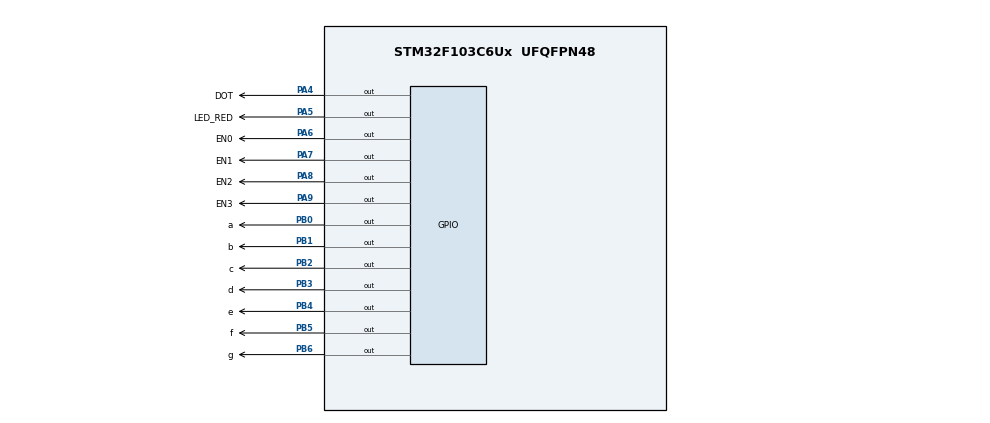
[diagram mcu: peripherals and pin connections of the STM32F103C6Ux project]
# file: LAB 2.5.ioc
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Mcu.Family=STM32F1
Mcu.Name=STM32F103C6Ux
Mcu.Package=UFQFPN48
NVIC.PriorityGroup=NVIC_PRIORITYGROUP_4
NVIC.TIM2_IRQn=true\:0\:0\:false\:false\:true\:true\:true
PA4.GPIO_Label=DOT
PA4.Signal=GPIO_Output
PA5.GPIO_Label=LED_RED
PA5.Signal=GPIO_Output
PA6.GPIO_Label=EN0
PA6.Signal=GPIO_Output
PA7.GPIO_Label=EN1
PA7.Signal=GPIO_Output
PA8.GPIO_Label=EN2
PA8.Signal=GPIO_Output
PA9.GPIO_Label=EN3
PA9.Signal=GPIO_Output
PB0.GPIO_Label=a
PB0.Signal=GPIO_Output
PB1.GPIO_Label=b
PB1.Signal=GPIO_Output
PB2.GPIO_Label=c
PB2.Signal=GPIO_Output
PB3.GPIO_Label=d
PB3.Signal=GPIO_Output
PB4.GPIO_Label=e
PB4.Signal=GPIO_Output
PB5.GPIO_Label=f
PB5.Signal=GPIO_Output
PB6.GPIO_Label=g
PB6.Signal=GPIO_Output
ProjectManager.HeapSize=0x200
ProjectManager.StackSize=0x400
ProjectManager.TargetToolchain=STM32CubeIDE
RCC.APB1Freq_Value=8000000
RCC.APB2Freq_Value=8000000
TIM2.Period=9
TIM2.Prescaler=7999
VP_SYS_VS_ND.Mode=No_Debug
VP_TIM2_VS_ClockSourceINT.Mode=Internal
board=custom

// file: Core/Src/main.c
/* USER CODE BEGIN Header */
/**
  ******************************************************************************
  * @file           : main.c
  * @brief          : Main program body
  ******************************************************************************
  * @attention
  *
  * <h2><center>&copy; Copyright (c) 2025 STMicroelectronics.
  * All rights reserved.</center></h2>
  *
  * This software component is licensed by ST under BSD 3-Clause license,
  * the "License"; You may not use this file except in compliance with the
  * License. You may obtain a copy of the License at:
  *                        opensource.org/licenses/BSD-3-Clause
  *
  ******************************************************************************
  */
/* USER CODE END Header */
#include "main.h"

TIM_HandleTypeDef htim2;

/* USER CODE BEGIN PV */
const int MAX_LED = 4;
int index_led = 0;
int led_buffer [4];
int hour = 15, minute = 8, second = 50;
/* USER CODE END PV */

void SystemClock_Config(void);
static void MX_GPIO_Init(void);
static void MX_TIM2_Init(void);
void display7SEG(int num);
void update7SEG(int index);
void updateClockBuffer();

int main(void)
{

  /* MCU Configuration--------------------------------------------------------*/

  /* Reset of all peripherals, Initializes the Flash interface and the Systick. */
  HAL_Init();

  /* Configure the system clock */
  SystemClock_Config();

  /* Initialize all configured peripherals */
  MX_GPIO_Init();
  MX_TIM2_Init();
  /* USER CODE BEGIN 2 */
  HAL_TIM_Base_Start_IT(&htim2);
  /* USER CODE END 2 */

  /* Infinite loop */
  /* USER CODE BEGIN WHILE */
  while (1)
  {
	  second++;
	  if(second>=60){
		  second = 0;
		  minute++;
	  }
	  if(minute>=60){
		  minute = 0;
		  hour++;
	  }
	  if(hour>=24){
		  hour = 0;
	  }
	  updateClockBuffer();
	  HAL_Delay(1000);
    /* USER CODE END WHILE */

  }
}
void updateClockBuffer(){
	led_buffer[0] = hour / 10;
	led_buffer[1] = hour % 10;
	led_buffer[2] = minute / 10;
	led_buffer[3] = minute%10;
}
void display7SEG(int num)
{
	if(num>=0 && num<=9){
	 if(num==0){
		   HAL_GPIO_WritePin(a_GPIO_Port, a_Pin, 0);
		   HAL_GPIO_WritePin(a_GPIO_Port, b_Pin, 0);
		   HAL_GPIO_WritePin(a_GPIO_Port, c_Pin, 0);
		   HAL_GPIO_WritePin(a_GPIO_Port, d_Pin, 0);
		   HAL_GPIO_WritePin(a_GPIO_Port, e_Pin, 0);
		   HAL_GPIO_WritePin(a_GPIO_Port, f_Pin, 0);
		   HAL_GPIO_WritePin(a_GPIO_Port, g_Pin, 1);
	 }
	 if (num==1){
	 		HAL_GPIO_WritePin(a_GPIO_Port, a_Pin, 1);
	 		HAL_GPIO_WritePin(a_GPIO_Port, b_Pin, 0);
	 		HAL_GPIO_WritePin(a_GPIO_Port, c_Pin, 0);
	 		HAL_GPIO_WritePin(a_GPIO_Port, d_Pin, 1);
	 		HAL_GPIO_WritePin(a_GPIO_Port, e_Pin, 1);
	 		HAL_GPIO_WritePin(a_GPIO_Port, f_Pin, 1);
	 		HAL_GPIO_WritePin(a_GPIO_Port, g_Pin, 1);
	 	}
	 	else if (num==2){
	 		HAL_GPIO_WritePin(a_GPIO_Port, a_Pin, 0);
	 		HAL_GPIO_WritePin(a_GPIO_Port, b_Pin, 0);
	 		HAL_GPIO_WritePin(a_GPIO_Port, c_Pin, 1);
	 		HAL_GPIO_WritePin(a_GPIO_Port, d_Pin, 0);
	 		HAL_GPIO_WritePin(a_GPIO_Port, e_Pin, 0);
	 		HAL_GPIO_WritePin(a_GPIO_Port, f_Pin, 1);
	 		HAL_GPIO_WritePin(a_GPIO_Port, g_Pin, 0);
	 	}
	 	else if (num==3){
	 		HAL_GPIO_WritePin(a_GPIO_Port, a_Pin, 0);
	 		HAL_GPIO_WritePin(a_GPIO_Port, b_Pin, 0);
	 		HAL_GPIO_WritePin(a_GPIO_Port, c_Pin, 0);
	 		HAL_GPIO_WritePin(a_GPIO_Port, d_Pin, 0);
	 		HAL_GPIO_WritePin(a_GPIO_Port, e_Pin, 1);
	 		HAL_GPIO_WritePin(a_GPIO_Port, f_Pin, 1);
	 		HAL_GPIO_WritePin(a_GPIO_Port, g_Pin, 0);

	 	}
	 	else if (num==4){
	 		HAL_GPIO_WritePin(a_GPIO_Port, a_Pin, 1);
	 		HAL_GPIO_WritePin(a_GPIO_Port, b_Pin, 0);
	 		HAL_GPIO_WritePin(a_GPIO_Port, c_Pin, 0);
	 		HAL_GPIO_WritePin(a_GPIO_Port, d_Pin, 1);
	 		HAL_GPIO_WritePin(a_GPIO_Port, e_Pin, 1);
	 		HAL_GPIO_WritePin(a_GPIO_Port, f_Pin, 0);
	 		HAL_GPIO_WritePin(a_GPIO_Port, g_Pin, 0);
	 	}
	 	else if (num==5){
	 		HAL_GPIO_WritePin(a_GPIO_Port, a_Pin, 0);
	 		HAL_GPIO_WritePin(a_GPIO_Port, b_Pin, 1);
	 		HAL_GPIO_WritePin(a_GPIO_Port, c_Pin, 0);
	 		HAL_GPIO_WritePin(a_GPIO_Port, d_Pin, 0);
	 		HAL_GPIO_WritePin(a_GPIO_Port, e_Pin, 1);
	 		HAL_GPIO_WritePin(a_GPIO_Port, f_Pin, 0);
	 		HAL_GPIO_WritePin(a_GPIO_Port, g_Pin, 0);
	 	}
	 	else if (num==6){
	 		HAL_GPIO_WritePin(a_GPIO_Port, a_Pin, 0);
	 		HAL_GPIO_WritePin(a_GPIO_Port, b_Pin, 1);
	 		HAL_GPIO_WritePin(a_GPIO_Port, c_Pin, 0);
	 		HAL_GPIO_WritePin(a_GPIO_Port, d_Pin, 0);
	 		HAL_GPIO_WritePin(a_GPIO_Port, e_Pin, 0);
	 		HAL_GPIO_WritePin(a_GPIO_Port, f_Pin, 0);
	 		HAL_GPIO_WritePin(a_GPIO_Port, g_Pin, 0);
	 	}
	 	else if (num==7){
	 		HAL_GPIO_WritePin(a_GPIO_Port, a_Pin, 0);
	 		HAL_GPIO_WritePin(a_GPIO_Port, b_Pin, 0);
	 		HAL_GPIO_WritePin(a_GPIO_Port, c_Pin, 0);
	 		HAL_GPIO_WritePin(a_GPIO_Port, d_Pin, 1);
	 		HAL_GPIO_WritePin(a_GPIO_Port, e_Pin, 1);
	 		HAL_GPIO_WritePin(a_GPIO_Port, f_Pin, 1);
	 		HAL_GPIO_WritePin(a_GPIO_Port, g_Pin, 1);
	 	}
	 	else if (num==8){
	 		HAL_GPIO_WritePin(a_GPIO_Port, a_Pin, 0);
	 		HAL_GPIO_WritePin(a_GPIO_Port, b_Pin, 0);
	 		HAL_GPIO_WritePin(a_GPIO_Port, c_Pin, 0);
	 		HAL_GPIO_WritePin(a_GPIO_Port, d_Pin, 0);
	 		HAL_GPIO_WritePin(a_GPIO_Port, e_Pin, 0);
	 		HAL_GPIO_WritePin(a_GPIO_Port, f_Pin, 0);
	 		HAL_GPIO_WritePin(a_GPIO_Port, g_Pin, 0);
	 	}
	 	else if (num==9){
	 		HAL_GPIO_WritePin(a_GPIO_Port, a_Pin, 0);
	 		HAL_GPIO_WritePin(a_GPIO_Port, b_Pin, 0);
	 		HAL_GPIO_WritePin(a_GPIO_Port, c_Pin, 0);
	 		HAL_GPIO_WritePin(a_GPIO_Port, d_Pin, 0);
	 		HAL_GPIO_WritePin(a_GPIO_Port, e_Pin, 1);
	 		HAL_GPIO_WritePin(a_GPIO_Port, f_Pin, 0);
	 		HAL_GPIO_WritePin(a_GPIO_Port, g_Pin, 0);
	 	}
	}
	else return;
}

void update7SEG(int index){
	switch(index){
	case 0:
		HAL_GPIO_WritePin(EN0_GPIO_Port, EN0_Pin, 1);
		HAL_GPIO_WritePin(EN1_GPIO_Port, EN1_Pin, 1);
		HAL_GPIO_WritePin(EN2_GPIO_Port, EN2_Pin, 1);
		HAL_GPIO_WritePin(EN3_GPIO_Port, EN3_Pin, 1);
		display7SEG(led_buffer[0]);
		HAL_GPIO_WritePin(EN0_GPIO_Port, EN0_Pin, 0);
		break;

	case 1:
		HAL_GPIO_WritePin(EN0_GPIO_Port, EN0_Pin, 1);
		HAL_GPIO_WritePin(EN1_GPIO_Port, EN1_Pin, 1);
		HAL_GPIO_WritePin(EN2_GPIO_Port, EN2_Pin, 1);
		HAL_GPIO_WritePin(EN3_GPIO_Port, EN3_Pin, 1);
		display7SEG(led_buffer[1]);
		HAL_GPIO_WritePin(EN1_GPIO_Port, EN1_Pin, 0);
		break;

	case 2:
		HAL_GPIO_WritePin(EN0_GPIO_Port, EN0_Pin, 1);
		HAL_GPIO_WritePin(EN1_GPIO_Port, EN1_Pin, 1);
		HAL_GPIO_WritePin(EN2_GPIO_Port, EN2_Pin, 1);
		HAL_GPIO_WritePin(EN3_GPIO_Port, EN3_Pin, 1);
		display7SEG(led_buffer[2]);
		HAL_GPIO_WritePin(EN2_GPIO_Port, EN2_Pin, 0);
		break;

	case 3:
		HAL_GPIO_WritePin(EN0_GPIO_Port, EN0_Pin, 1);
		HAL_GPIO_WritePin(EN1_GPIO_Port, EN1_Pin, 1);
		HAL_GPIO_WritePin(EN2_GPIO_Port, EN2_Pin, 1);
		HAL_GPIO_WritePin(EN3_GPIO_Port, EN3_Pin, 1);
		display7SEG(led_buffer[3]);
		HAL_GPIO_WritePin(EN3_GPIO_Port, EN3_Pin, 0);
		break;

	default:
		break;
	}
}
void SystemClock_Config(void)
{
  RCC_OscInitTypeDef RCC_OscInitStruct = {0};
  RCC_ClkInitTypeDef RCC_ClkInitStruct = {0};

  /** Initializes the RCC Oscillators according to the specified parameters
  * in the RCC_OscInitTypeDef structure.
  */
  RCC_OscInitStruct.OscillatorType = RCC_OSCILLATORTYPE_HSI;
  RCC_OscInitStruct.HSIState = RCC_HSI_ON;
  RCC_OscInitStruct.HSICalibrationValue = RCC_HSICALIBRATION_DEFAULT;
  RCC_OscInitStruct.PLL.PLLState = RCC_PLL_NONE;
  if (HAL_RCC_OscConfig(&RCC_OscInitStruct) != HAL_OK)
  {
    Error_Handler();
  }
  /** Initializes the CPU, AHB and APB buses clocks
  */
  RCC_ClkInitStruct.ClockType = RCC_CLOCKTYPE_HCLK|RCC_CLOCKTYPE_SYSCLK
                              |RCC_CLOCKTYPE_PCLK1|RCC_CLOCKTYPE_PCLK2;
  RCC_ClkInitStruct.SYSCLKSource = RCC_SYSCLKSOURCE_HSI;
  RCC_ClkInitStruct.AHBCLKDivider = RCC_SYSCLK_DIV1;
  RCC_ClkInitStruct.APB1CLKDivider = RCC_HCLK_DIV1;
  RCC_ClkInitStruct.APB2CLKDivider = RCC_HCLK_DIV1;

  if (HAL_RCC_ClockConfig(&RCC_ClkInitStruct, FLASH_LATENCY_0) != HAL_OK)
  {
    Error_Handler();
  }
}

static void MX_TIM2_Init(void)
{

  TIM_ClockConfigTypeDef sClockSourceConfig = {0};
  TIM_MasterConfigTypeDef sMasterConfig = {0};

  htim2.Instance = TIM2;
  htim2.Init.Prescaler = 7999;
  htim2.Init.CounterMode = TIM_COUNTERMODE_UP;
  htim2.Init.Period = 9;
  htim2.Init.ClockDivision = TIM_CLOCKDIVISION_DIV1;
  htim2.Init.AutoReloadPreload = TIM_AUTORELOAD_PRELOAD_DISABLE;
  if (HAL_TIM_Base_Init(&htim2) != HAL_OK)
  {
    Error_Handler();
  }
  sClockSourceConfig.ClockSource = TIM_CLOCKSOURCE_INTERNAL;
  if (HAL_TIM_ConfigClockSource(&htim2, &sClockSourceConfig) != HAL_OK)
  {
    Error_Handler();
  }
  sMasterConfig.MasterOutputTrigger = TIM_TRGO_RESET;
  sMasterConfig.MasterSlaveMode = TIM_MASTERSLAVEMODE_DISABLE;
  if (HAL_TIMEx_MasterConfigSynchronization(&htim2, &sMasterConfig) != HAL_OK)
  {
    Error_Handler();
  }

}

static void MX_GPIO_Init(void)
{
  GPIO_InitTypeDef GPIO_InitStruct = {0};

  /* GPIO Ports Clock Enable */
  __HAL_RCC_GPIOA_CLK_ENABLE();
  __HAL_RCC_GPIOB_CLK_ENABLE();

  /*Configure GPIO pin Output Level */
  HAL_GPIO_WritePin(GPIOA, DOT_Pin|LED_RED_Pin|EN0_Pin|EN1_Pin
                          |EN2_Pin|EN3_Pin, GPIO_PIN_RESET);

  /*Configure GPIO pin Output Level */
  HAL_GPIO_WritePin(GPIOB, a_Pin|b_Pin|c_Pin|d_Pin
                          |e_Pin|f_Pin|g_Pin, GPIO_PIN_RESET);

  /*Configure GPIO pins : DOT_Pin LED_RED_Pin EN0_Pin EN1_Pin
                           EN2_Pin EN3_Pin */
  GPIO_InitStruct.Pin = DOT_Pin|LED_RED_Pin|EN0_Pin|EN1_Pin
                          |EN2_Pin|EN3_Pin;
  GPIO_InitStruct.Mode = GPIO_MODE_OUTPUT_PP;
  GPIO_InitStruct.Pull = GPIO_NOPULL;
  GPIO_InitStruct.Speed = GPIO_SPEED_FREQ_LOW;
  HAL_GPIO_Init(GPIOA, &GPIO_InitStruct);

  /*Configure GPIO pins : a_Pin b_Pin c_Pin d_Pin
                           e_Pin f_Pin g_Pin */
  GPIO_InitStruct.Pin = a_Pin|b_Pin|c_Pin|d_Pin
                          |e_Pin|f_Pin|g_Pin;
  GPIO_InitStruct.Mode = GPIO_MODE_OUTPUT_PP;
  GPIO_InitStruct.Pull = GPIO_NOPULL;
  GPIO_InitStruct.Speed = GPIO_SPEED_FREQ_LOW;
  HAL_GPIO_Init(GPIOB, &GPIO_InitStruct);

}

/* USER CODE BEGIN 4 */
int counter = 100;
int dot_counter = 100;
void HAL_TIM_PeriodElapsedCallback ( TIM_HandleTypeDef * htim ){
	if(--dot_counter<=0){
		dot_counter = 100;
		HAL_GPIO_TogglePin(DOT_GPIO_Port, DOT_Pin);
	}
	if(--counter<=0){
		counter = 50;
		update7SEG(index_led);
		index_led++;
		if(index_led >= MAX_LED){
			index_led = 0;
		}
	}
}
/* USER CODE END 4 */

void Error_Handler(void)
{
  __disable_irq();
  while (1)
  {
  }
}

/************************ (C) COPYRIGHT STMicroelectronics *****END OF FILE****/
